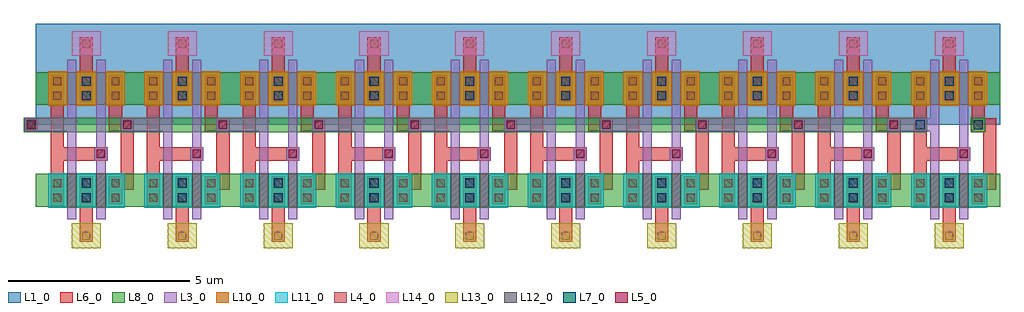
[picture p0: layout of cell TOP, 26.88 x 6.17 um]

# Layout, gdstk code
import gdstk
lib = gdstk.Library(unit=1e-6, precision=1e-09)
def R(c, l, rs):  # rectangles x0, y0, x1, y1
    for r in rs: c.add(gdstk.rectangle(r[:2], r[2:], *l))
def A(c, l, x, y, w, h, nx, ny, dx, dy):  # array of equal rectangles
    R(c, l, [(x+i*dx, y+j*dy, x+i*dx+w, y+j*dy+h) for i in range(nx) for j in range(ny)])
def P(c, l, *ps):  # polygons
    for p in ps: c.add(gdstk.Polygon(p, *l))
L1_0 = (1, 0)
L3_0 = (3, 0)
L4_0 = (4, 0)
L5_0 = (5, 0)
L6_0 = (6, 0)
L7_0 = (7, 0)
L8_0 = (8, 0)
L10_0 = (10, 0)
L11_0 = (11, 0)
L12_0 = (12, 0)
L13_0 = (13, 0)
L14_0 = (14, 0)

trans = lib.new_cell('TRANS')

d_pmos = lib.new_cell('D$PMOS')

d_pmos_1 = lib.new_cell('D$PMOS$1')

d_nmos = lib.new_cell('D$NMOS')

d_nmos_1 = lib.new_cell('D$NMOS$1')

inv2 = lib.new_cell('INV2')
inv2.add(gdstk.Reference(trans, (-0.4,0)))
inv2.add(gdstk.Reference(trans, (-0.4,2.8)))
inv2.add(gdstk.Reference(trans, (0.4,0), x_reflection=True))
inv2.add(gdstk.Reference(trans, (0.4,2.8), x_reflection=True))
inv2.add(gdstk.Reference(d_pmos, (-0.4,2.8)))
inv2.add(gdstk.Reference(d_pmos_1, (0.4,2.8)))
inv2.add(gdstk.Reference(d_nmos, (-0.4,0)))
inv2.add(gdstk.Reference(d_nmos_1, (0.4,0)))

circuit_trans = lib.new_cell('CIRCUIT_TRANS')
R(circuit_trans, L3_0, [(-0.125,-0.8,0.125,0.8)])

device_d_pmos_1 = lib.new_cell('DEVICE_D$PMOS$1')
R(device_d_pmos_1, L3_0, [(-0.125,-0.475,0.125,0.475)])

device_d_nmos_1 = lib.new_cell('DEVICE_D$NMOS$1')
R(device_d_nmos_1, L3_0, [(-0.125,-0.475,0.125,0.475)])

circuit_trans_1 = lib.new_cell('CIRCUIT_TRANS$1')
R(circuit_trans_1, L4_0, [(-0.51,-0.31,-0.29,-0.09), (-0.51,0.09,-0.29,0.31)])
R(circuit_trans_1, L6_0, [(-0.58,-0.38,-0.22,0.38)])

device_d_pmos = lib.new_cell('DEVICE_D$PMOS')
R(device_d_pmos, L10_0, [(-0.65,-0.475,-0.125,0.475)])

device_d_nmos = lib.new_cell('DEVICE_D$NMOS')
R(device_d_nmos, L11_0, [(-0.65,-0.475,-0.125,0.475)])

circuit_inv2 = lib.new_cell('CIRCUIT_INV2')
R(circuit_inv2, L3_0, [(0.275,-0.8,0.525,0.8), (0.275,-0.25,0.525,2.25), (0.22,0.82,0.58,1.18), (0.275,2,0.525,3.6)])
R(circuit_inv2, L4_0, [(-0.91,-0.31,-0.69,-0.09), (-0.91,0.09,-0.69,0.31), (-0.91,2.49,-0.69,2.71), (-0.91,2.89,-0.69,3.11)])
R(circuit_inv2, L5_0, [(0.29,0.89,0.51,1.11)])
R(circuit_inv2, L6_0, [(-0.98,-0.42,-0.62,2.42), (-0.98,-0.38,-0.62,0.38), (-0.8,0.82,0.58,1.18), (-0.98,2.42,-0.62,3.18)])
R(circuit_inv2, L10_0, [(-1.05,2.325,-0.525,3.275)])
R(circuit_inv2, L11_0, [(-1.05,-0.475,-0.525,0.475)])
circuit_inv2.add(gdstk.Reference(circuit_trans, (0.4,2.8), x_reflection=True))
circuit_inv2.add(gdstk.Reference(device_d_pmos_1, (0.4,2.8)))
circuit_inv2.add(gdstk.Reference(circuit_trans, (0.4,0), x_reflection=True))
circuit_inv2.add(gdstk.Reference(device_d_nmos_1, (0.4,0)))
circuit_inv2.add(gdstk.Reference(circuit_trans_1, (-0.4,2.8)))
circuit_inv2.add(gdstk.Reference(device_d_pmos, (-0.4,2.8)))
circuit_inv2.add(gdstk.Reference(circuit_trans_1, (-0.4,0)))
circuit_inv2.add(gdstk.Reference(device_d_nmos, (-0.4,0)))

net__i7 = lib.new_cell('NET_$I7')
net__i7.add(gdstk.Reference(circuit_inv2, (1.7,0.8)))

circuit_trans_2 = lib.new_cell('CIRCUIT_TRANS$2')
R(circuit_trans_2, L4_0, [(0.29,-0.31,0.51,-0.09), (0.29,0.09,0.51,0.31)])
R(circuit_trans_2, L6_0, [(0.22,-0.38,0.58,0.38)])

device_d_pmos_1_1 = lib.new_cell('DEVICE_D$PMOS$1$1')
R(device_d_pmos_1_1, L10_0, [(0.125,-0.475,0.65,0.475)])

device_d_nmos_1_1 = lib.new_cell('DEVICE_D$NMOS$1$1')
R(device_d_nmos_1_1, L11_0, [(0.125,-0.475,0.65,0.475)])

circuit_inv2_2 = lib.new_cell('CIRCUIT_INV2$2')
R(circuit_inv2_2, L4_0, [(0.69,-0.31,0.91,-0.09), (0.69,0.09,0.91,0.31), (0.69,2.49,0.91,2.71), (0.69,2.89,0.91,3.11)])
R(circuit_inv2_2, L6_0, [(0.62,-0.38,0.98,0.38), (0.62,2.42,0.98,3.18)])
P(circuit_inv2_2, L6_0, [(0.8,0.02),(0.8,0.38),(0.94,0.38),(0.94,1.62),(0.62,1.62),(0.62,2.42),(0.98,2.42),(0.98,1.98),(1.3,1.98),(1.3,0.02)])
R(circuit_inv2_2, L10_0, [(0.525,2.325,1.05,3.275)])
R(circuit_inv2_2, L11_0, [(0.525,-0.475,1.05,0.475)])
circuit_inv2_2.add(gdstk.Reference(circuit_trans_2, (0.4,2.8), x_reflection=True))
circuit_inv2_2.add(gdstk.Reference(device_d_pmos_1_1, (0.4,2.8)))
circuit_inv2_2.add(gdstk.Reference(circuit_trans_2, (0.4,0), x_reflection=True))
circuit_inv2_2.add(gdstk.Reference(device_d_nmos_1_1, (0.4,0)))

device_d_nmos_2 = lib.new_cell('DEVICE_D$NMOS$2')
R(device_d_nmos_2, L3_0, [(-0.125,-0.475,0.125,0.475)])

device_d_pmos_2 = lib.new_cell('DEVICE_D$PMOS$2')
R(device_d_pmos_2, L3_0, [(-0.125,-0.475,0.125,0.475)])

circuit_inv2_1 = lib.new_cell('CIRCUIT_INV2$1')
R(circuit_inv2_1, L3_0, [(-0.525,-0.8,-0.275,0.8), (-0.525,-0.25,-0.275,2.25), (-1.7,1.62,-0.4,1.98), (-0.525,2,-0.275,3.6)])
R(circuit_inv2_1, L5_0, [(-1.63,1.69,-1.41,1.91)])
circuit_inv2_1.add(gdstk.Reference(circuit_trans, (-0.4,0)))
circuit_inv2_1.add(gdstk.Reference(device_d_nmos_2, (-0.4,0)))
circuit_inv2_1.add(gdstk.Reference(circuit_trans, (-0.4,2.8)))
circuit_inv2_1.add(gdstk.Reference(device_d_pmos_2, (-0.4,2.8)))

net__i4 = lib.new_cell('NET_$I4')
net__i4.add(gdstk.Reference(circuit_inv2_2, (1.7,0.8)))
net__i4.add(gdstk.Reference(circuit_inv2_1, (4.34,0.8)))

inv2pair = lib.new_cell('INV2PAIR')
r = gdstk.Reference(inv2, (1.7,0.8)); r.repetition = gdstk.Repetition(2, 1, v1=(2.64,0), v2=(0,0)); inv2pair.add(r)
inv2pair.add(gdstk.Reference(net__i7, (0,0)))
inv2pair.add(gdstk.Reference(net__i4, (0,0)))

circuit_inv2pair = lib.new_cell('CIRCUIT_INV2PAIR')
circuit_inv2pair.add(gdstk.Reference(circuit_inv2, (4.34,0.8)))

circuit_inv2pair_1 = lib.new_cell('CIRCUIT_INV2PAIR$1')
circuit_inv2pair_1.add(gdstk.Reference(circuit_inv2_1, (1.7,0.8)))

net_fb = lib.new_cell('NET_FB')
R(net_fb, L6_0, [(-1.7,1.62,-1.34,1.98)])
R(net_fb, L7_0, [(-1.645,1.675,-1.395,1.925), (22.835,1.675,23.085,1.925)])
R(net_fb, L8_0, [(-1.72,1.6,23.16,2)])
net_fb.add(gdstk.Reference(circuit_inv2pair, (19.42,-0.8)))
net_fb.add(gdstk.Reference(circuit_inv2pair_1, (-1.7,-0.8)))

circuit_inv2pair_2 = lib.new_cell('CIRCUIT_INV2PAIR$2')
circuit_inv2pair_2.add(gdstk.Reference(circuit_inv2_2, (4.34,0.8)))

net_osc = lib.new_cell('NET_OSC')
R(net_osc, L7_0, [(24.435,1.675,24.685,1.925)])
R(net_osc, L8_0, [(24.36,1.6,24.76,2)])
net_osc.add(gdstk.Reference(circuit_inv2pair_2, (19.42,-0.8)))

device_d_pmos_3 = lib.new_cell('DEVICE_D$PMOS$3')
R(device_d_pmos_3, L1_0, [(-0.125,-0.475,0.125,0.475)])

device_d_pmos_1_2 = lib.new_cell('DEVICE_D$PMOS$1$2')
R(device_d_pmos_1_2, L1_0, [(-0.125,-0.475,0.125,0.475)])

circuit_inv2_3 = lib.new_cell('CIRCUIT_INV2$3')
R(circuit_inv2_3, L1_0, [(-1.4,1.8,1.4,4.58)])
R(circuit_inv2_3, L4_0, [(-0.11,3.93,0.11,4.15)])
R(circuit_inv2_3, L14_0, [(-0.4,3.7,0.4,4.38)])
circuit_inv2_3.add(gdstk.Reference(device_d_pmos_3, (-0.4,2.8)))
circuit_inv2_3.add(gdstk.Reference(device_d_pmos_1_2, (0.4,2.8)))

circuit_inv2pair_3 = lib.new_cell('CIRCUIT_INV2PAIR$3')
circuit_inv2pair_3.add(gdstk.Reference(circuit_inv2_3, (4.34,0.8)))
circuit_inv2pair_3.add(gdstk.Reference(circuit_inv2_3, (1.7,0.8)))

device_d_pmos_4 = lib.new_cell('DEVICE_D$PMOS$4')
R(device_d_pmos_4, L10_0, [(0.125,-0.475,0.675,0.475)])

device_d_pmos_1_3 = lib.new_cell('DEVICE_D$PMOS$1$3')
R(device_d_pmos_1_3, L10_0, [(-0.675,-0.475,-0.125,0.475)])

circuit_inv2_4 = lib.new_cell('CIRCUIT_INV2$4')
R(circuit_inv2_4, L4_0, [(-0.11,2.49,0.11,2.71), (-0.11,2.49,0.11,2.71), (-0.11,2.89,0.11,3.11), (-0.11,2.89,0.11,3.11)])
R(circuit_inv2_4, L6_0, [(-0.18,2.42,0.18,3.18), (-0.18,2.42,0.18,3.18)])
R(circuit_inv2_4, L7_0, [(-0.125,2.475,0.125,2.725), (-0.125,2.875,0.125,3.125)])
R(circuit_inv2_4, L8_0, [(-1.4,2.35,1.4,3.25)])
R(circuit_inv2_4, L10_0, [(-0.275,2.325,0.275,3.275)])
circuit_inv2_4.add(gdstk.Reference(circuit_trans_1, (0.4,2.8), x_reflection=True))
circuit_inv2_4.add(gdstk.Reference(circuit_trans_2, (-0.4,2.8)))
circuit_inv2_4.add(gdstk.Reference(device_d_pmos_4, (-0.4,2.8)))
circuit_inv2_4.add(gdstk.Reference(device_d_pmos_1_3, (0.4,2.8)))

circuit_inv2pair_4 = lib.new_cell('CIRCUIT_INV2PAIR$4')
circuit_inv2pair_4.add(gdstk.Reference(circuit_inv2_4, (4.34,0.8)))
circuit_inv2pair_4.add(gdstk.Reference(circuit_inv2_4, (1.7,0.8)))

net_vdd = lib.new_cell('NET_VDD')
A(net_vdd, L6_0, -0.18, 3.1, 0.36, 1.12, 10, 1, 2.64, 0)
net_vdd.add(gdstk.Reference(circuit_inv2pair_3, (19.42,-0.8)))
net_vdd.add(gdstk.Reference(circuit_inv2pair_3, (14.14,-0.8)))
net_vdd.add(gdstk.Reference(circuit_inv2pair_3, (8.86,-0.8)))
net_vdd.add(gdstk.Reference(circuit_inv2pair_3, (3.58,-0.8)))
net_vdd.add(gdstk.Reference(circuit_inv2pair_3, (-1.7,-0.8)))
net_vdd.add(gdstk.Reference(circuit_inv2pair_4, (19.42,-0.8)))
net_vdd.add(gdstk.Reference(circuit_inv2pair_4, (14.14,-0.8)))
net_vdd.add(gdstk.Reference(circuit_inv2pair_4, (8.86,-0.8)))
net_vdd.add(gdstk.Reference(circuit_inv2pair_4, (3.58,-0.8)))
net_vdd.add(gdstk.Reference(circuit_inv2pair_4, (-1.7,-0.8)))

device_d_nmos_3 = lib.new_cell('DEVICE_D$NMOS$3')
R(device_d_nmos_3, L12_0, [(-0.125,-0.475,0.125,0.475)])

device_d_nmos_1_2 = lib.new_cell('DEVICE_D$NMOS$1$2')
R(device_d_nmos_1_2, L12_0, [(-0.125,-0.475,0.125,0.475)])

circuit_inv2_5 = lib.new_cell('CIRCUIT_INV2$5')
R(circuit_inv2_5, L4_0, [(-0.11,-1.36,0.11,-1.14)])
R(circuit_inv2_5, L13_0, [(-0.4,-1.59,0.4,-0.91)])
circuit_inv2_5.add(gdstk.Reference(device_d_nmos_3, (-0.4,0)))
circuit_inv2_5.add(gdstk.Reference(device_d_nmos_1_2, (0.4,0)))

circuit_inv2pair_5 = lib.new_cell('CIRCUIT_INV2PAIR$5')
circuit_inv2pair_5.add(gdstk.Reference(circuit_inv2_5, (1.7,0.8)))
circuit_inv2pair_5.add(gdstk.Reference(circuit_inv2_5, (4.34,0.8)))

device_d_nmos_4 = lib.new_cell('DEVICE_D$NMOS$4')
R(device_d_nmos_4, L11_0, [(0.125,-0.475,0.675,0.475)])

device_d_nmos_1_3 = lib.new_cell('DEVICE_D$NMOS$1$3')
R(device_d_nmos_1_3, L11_0, [(-0.675,-0.475,-0.125,0.475)])

circuit_inv2_6 = lib.new_cell('CIRCUIT_INV2$6')
R(circuit_inv2_6, L4_0, [(-0.11,-0.31,0.11,-0.09), (-0.11,-0.31,0.11,-0.09), (-0.11,0.09,0.11,0.31), (-0.11,0.09,0.11,0.31)])
R(circuit_inv2_6, L6_0, [(-0.18,-0.38,0.18,0.38), (-0.18,-0.38,0.18,0.38)])
R(circuit_inv2_6, L7_0, [(-0.125,-0.325,0.125,-0.075), (-0.125,0.075,0.125,0.325)])
R(circuit_inv2_6, L8_0, [(-1.4,-0.45,1.4,0.45)])
R(circuit_inv2_6, L11_0, [(-0.275,-0.475,0.275,0.475)])
circuit_inv2_6.add(gdstk.Reference(circuit_trans_2, (-0.4,0)))
circuit_inv2_6.add(gdstk.Reference(circuit_trans_1, (0.4,0), x_reflection=True))
circuit_inv2_6.add(gdstk.Reference(device_d_nmos_4, (-0.4,0)))
circuit_inv2_6.add(gdstk.Reference(device_d_nmos_1_3, (0.4,0)))

circuit_inv2pair_6 = lib.new_cell('CIRCUIT_INV2PAIR$6')
circuit_inv2pair_6.add(gdstk.Reference(circuit_inv2_6, (4.34,0.8)))
circuit_inv2pair_6.add(gdstk.Reference(circuit_inv2_6, (1.7,0.8)))

net_vss = lib.new_cell('NET_VSS')
A(net_vss, L6_0, -0.18, -1.42, 0.36, 1.12, 10, 1, 2.64, 0)
net_vss.add(gdstk.Reference(circuit_inv2pair_5, (-1.7,-0.8)))
net_vss.add(gdstk.Reference(circuit_inv2pair_5, (3.58,-0.8)))
net_vss.add(gdstk.Reference(circuit_inv2pair_5, (8.86,-0.8)))
net_vss.add(gdstk.Reference(circuit_inv2pair_5, (14.14,-0.8)))
net_vss.add(gdstk.Reference(circuit_inv2pair_5, (19.42,-0.8)))
net_vss.add(gdstk.Reference(circuit_inv2pair_6, (19.42,-0.8)))
net_vss.add(gdstk.Reference(circuit_inv2pair_6, (14.14,-0.8)))
net_vss.add(gdstk.Reference(circuit_inv2pair_6, (8.86,-0.8)))
net_vss.add(gdstk.Reference(circuit_inv2pair_6, (3.58,-0.8)))
net_vss.add(gdstk.Reference(circuit_inv2pair_6, (-1.7,-0.8)))

net__i25 = lib.new_cell('NET_$I25')
net__i25.add(gdstk.Reference(circuit_inv2pair, (14.14,-0.8)))

net__i24 = lib.new_cell('NET_$I24')
net__i24.add(gdstk.Reference(circuit_inv2pair, (8.86,-0.8)))

net__i23 = lib.new_cell('NET_$I23')
net__i23.add(gdstk.Reference(circuit_inv2pair, (3.58,-0.8)))

net__i22 = lib.new_cell('NET_$I22')
net__i22.add(gdstk.Reference(circuit_inv2pair, (-1.7,-0.8)))

net__i17 = lib.new_cell('NET_$I17')
net__i17.add(gdstk.Reference(circuit_inv2pair_2, (-1.7,-0.8)))
net__i17.add(gdstk.Reference(circuit_inv2pair_1, (3.58,-0.8)))

net__i16 = lib.new_cell('NET_$I16')
net__i16.add(gdstk.Reference(circuit_inv2pair_1, (19.42,-0.8)))
net__i16.add(gdstk.Reference(circuit_inv2pair_2, (14.14,-0.8)))

net__i15 = lib.new_cell('NET_$I15')
net__i15.add(gdstk.Reference(circuit_inv2pair_1, (14.14,-0.8)))
net__i15.add(gdstk.Reference(circuit_inv2pair_2, (8.86,-0.8)))

net__i14 = lib.new_cell('NET_$I14')
net__i14.add(gdstk.Reference(circuit_inv2pair_1, (8.86,-0.8)))
net__i14.add(gdstk.Reference(circuit_inv2pair_2, (3.58,-0.8)))

top = lib.new_cell('TOP')
r = gdstk.Reference(inv2pair, (-1.7,-0.8)); r.repetition = gdstk.Repetition(5, 1, v1=(5.28,0), v2=(0,0)); top.add(r)
top.add(gdstk.Reference(net_fb, (0,0)))
top.add(gdstk.Reference(net_osc, (0,0)))
top.add(gdstk.Reference(net_vdd, (0,0)))
top.add(gdstk.Reference(net_vss, (0,0)))
top.add(gdstk.Reference(net__i25, (0,0)))
top.add(gdstk.Reference(net__i24, (0,0)))
top.add(gdstk.Reference(net__i23, (0,0)))
top.add(gdstk.Reference(net__i22, (0,0)))
top.add(gdstk.Reference(net__i17, (0,0)))
top.add(gdstk.Reference(net__i16, (0,0)))
top.add(gdstk.Reference(net__i15, (0,0)))
top.add(gdstk.Reference(net__i14, (0,0)))

lib.write_gds('TOP.gds')
